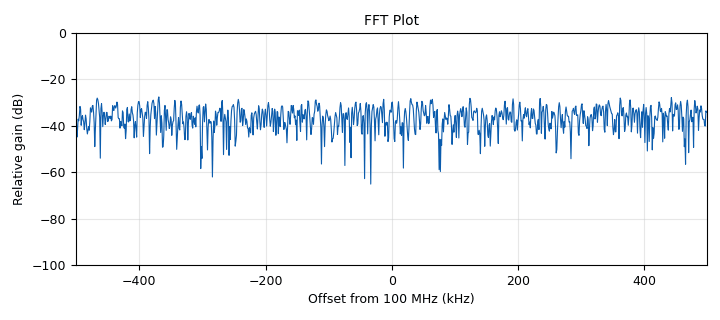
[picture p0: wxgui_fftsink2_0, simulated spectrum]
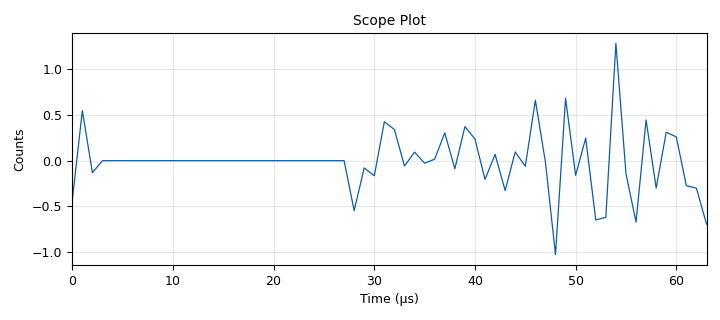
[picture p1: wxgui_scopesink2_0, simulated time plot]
<?xml version='1.0' encoding='utf-8'?>
<?grc format='1' created='3.7.10'?>
<flow_graph>
<block>
<key>options</key>
<param><key>id</key><value>tx_fft</value></param>
<param><key>generate_options</key><value>wx_gui</value></param>
</block>
<block>
<key>variable_slider</key>
<param><key>id</key><value>center_f</value></param>
<param><key>converver</key><value>float_converter</value></param>
<param><key>value</key><value>100e6</value></param>
<param><key>label</key><value></value></param>
<param><key>max</key><value>3000e6</value></param>
<param><key>min</key><value>100e6</value></param>
<param><key>num_steps</key><value>29</value></param>
<param><key>style</key><value>wx.SL_HORIZONTAL</value></param>
</block>
<block>
<key>variable_check_box</key>
<param><key>id</key><value>on_off</value></param>
<param><key>value</key><value>1</value></param>
<param><key>false</key><value>0</value></param>
<param><key>label</key><value></value></param>
<param><key>true</key><value>1</value></param>
</block>
<block>
<key>variable</key>
<param><key>id</key><value>samp_rate</value></param>
<param><key>value</key><value>1e6</value></param>
</block>
<block>
<key>analog_noise_source_x</key>
<param><key>id</key><value>analog_noise_source_x_0</value></param>
<param><key>amp</key><value>0.6</value></param>
<param><key>noise_type</key><value>analog.GR_GAUSSIAN</value></param>
<param><key>type</key><value>complex</value></param>
<param><key>seed</key><value>0</value></param>
</block>
<block>
<key>analog_sig_source_x</key>
<param><key>id</key><value>analog_sig_source_x_0</value></param>
<param><key>amp</key><value>1</value></param>
<param><key>freq</key><value>10000</value></param>
<param><key>offset</key><value>0</value></param>
<param><key>type</key><value>complex</value></param>
<param><key>samp_rate</key><value>samp_rate</value></param>
<param><key>waveform</key><value>analog.GR_SQR_WAVE</value></param>
</block>
<block>
<key>blocks_complex_to_float</key>
<param><key>id</key><value>blocks_complex_to_float_0</value></param>
</block>
<block>
<key>blocks_multiply_const_vxx</key>
<param><key>id</key><value>blocks_multiply_const_vxx_0</value></param>
<param><key>const</key><value>on_off</value></param>
<param><key>type</key><value>complex</value></param>
</block>
<block>
<key>blocks_multiply_xx</key>
<param><key>id</key><value>blocks_multiply_xx_0_0</value></param>
<param><key>type</key><value>complex</value></param>
</block>
<block>
<key>blocks_throttle</key>
<param><key>id</key><value>blocks_throttle_0</value></param>
<param><key>samples_per_second</key><value>samp_rate</value></param>
<param><key>type</key><value>complex</value></param>
</block>
<block>
<key>osmosdr_sink</key>
<param><key>id</key><value>osmosdr_sink_0</value></param>
<param><key>bb_gain0</key><value>20</value></param>
<param><key>bw0</key><value>10e6</value></param>
<param><key>freq0</key><value>center_f</value></param>
<param><key>if_gain0</key><value>47</value></param>
<param><key>gain0</key><value>14</value></param>
<param><key>args</key><value></value></param>
<param><key>type</key><value>fc32</value></param>
<param><key>sample_rate</key><value>samp_rate</value></param>
<param><key>sync</key><value></value></param>
</block>
<block>
<key>wxgui_fftsink2</key>
<param><key>id</key><value>wxgui_fftsink2_0</value></param>
<param><key>avg_alpha</key><value>0</value></param>
<param><key>average</key><value>False</value></param>
<param><key>baseband_freq</key><value>center_f</value></param>
<param><key>fft_size</key><value>1024</value></param>
<param><key>freqvar</key><value>None</value></param>
<param><key>peak_hold</key><value>False</value></param>
<param><key>ref_level</key><value>0</value></param>
<param><key>ref_scale</key><value>2.0</value></param>
<param><key>fft_rate</key><value>15</value></param>
<param><key>samp_rate</key><value>samp_rate</value></param>
<param><key>title</key><value>FFT Plot</value></param>
<param><key>type</key><value>complex</value></param>
<param><key>win_size</key><value>400,200</value></param>
<param><key>win</key><value>None</value></param>
<param><key>y_divs</key><value>10</value></param>
<param><key>y_per_div</key><value>10</value></param>
</block>
<block>
<key>wxgui_scopesink2</key>
<param><key>id</key><value>wxgui_scopesink2_0</value></param>
<param><key>ac_couple</key><value>False</value></param>
<param><key>num_inputs</key><value>1</value></param>
<param><key>samp_rate</key><value>samp_rate</value></param>
<param><key>t_scale</key><value>0</value></param>
<param><key>title</key><value>Scope Plot</value></param>
<param><key>trig_mode</key><value>wxgui.TRIG_MODE_AUTO</value></param>
<param><key>type</key><value>float</value></param>
<param><key>v_offset</key><value>0</value></param>
<param><key>v_scale</key><value>0</value></param>
<param><key>win_size</key><value>(400,200)</value></param>
<param><key>xy_mode</key><value>False</value></param>
<param><key>y_axis_label</key><value>Counts</value></param>
</block>
<connection><source_block_id>analog_noise_source_x_0</source_block_id><sink_block_id>blocks_multiply_xx_0_0</sink_block_id><source_key>0</source_key><sink_key>1</sink_key></connection>
<connection><source_block_id>analog_sig_source_x_0</source_block_id><sink_block_id>blocks_multiply_xx_0_0</sink_block_id><source_key>0</source_key><sink_key>0</sink_key></connection>
<connection><source_block_id>blocks_complex_to_float_0</source_block_id><sink_block_id>wxgui_scopesink2_0</sink_block_id><source_key>0</source_key><sink_key>0</sink_key></connection>
<connection><source_block_id>blocks_multiply_const_vxx_0</source_block_id><sink_block_id>blocks_throttle_0</sink_block_id><source_key>0</source_key><sink_key>0</sink_key></connection>
<connection><source_block_id>blocks_multiply_const_vxx_0</source_block_id><sink_block_id>osmosdr_sink_0</sink_block_id><source_key>0</source_key><sink_key>0</sink_key></connection>
<connection><source_block_id>blocks_multiply_xx_0_0</source_block_id><sink_block_id>blocks_multiply_const_vxx_0</sink_block_id><source_key>0</source_key><sink_key>0</sink_key></connection>
<connection><source_block_id>blocks_throttle_0</source_block_id><sink_block_id>blocks_complex_to_float_0</sink_block_id><source_key>0</source_key><sink_key>0</sink_key></connection>
<connection><source_block_id>blocks_throttle_0</source_block_id><sink_block_id>wxgui_fftsink2_0</sink_block_id><source_key>0</source_key><sink_key>0</sink_key></connection>
</flow_graph>
